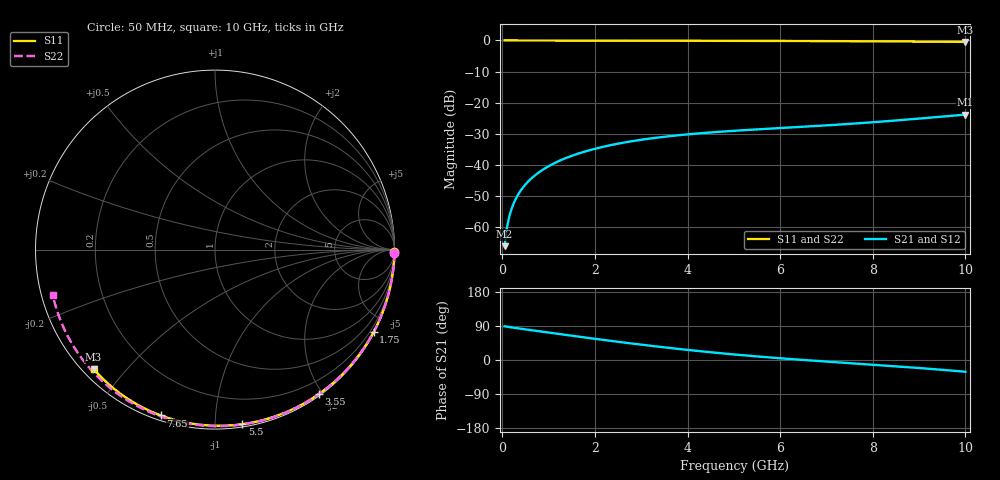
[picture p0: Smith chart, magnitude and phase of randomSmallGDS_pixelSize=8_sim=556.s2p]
! freq	dB(S11)	phase(S11)	dB(S12)	phase(S12)
!  dB(S21)	phase(S21)	dB(S22)	phase(S22)
!S-par simulation data
#  GHz  S  DB  R 50
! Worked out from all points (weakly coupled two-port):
!   200 points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, 50 MHz to 10 GHz, reference 50 ohm
!   highest |S21| = -23.85 dB at 10 GHz (marker M1); lowest = -66.2 dB at 50 MHz (marker M2)
!   lowest |S11| = -0.5 dB at 10 GHz (marker M3), VSWR 37.66, Z = 1.55 - j20.4 ohm
!   |S11| at or under -10 dB: nowhere
!   |S22| runs from -0.6 to 0.0 dB; largest |S21 - S12| = 0
!   S11 on the Smith chart (normalised r, x): 50 MHz: open; 1.75 GHz: 0.04, -4.09; 3.55 GHz: 0.02, -1.95; 5.5 GHz: 0.02, -1.17; 7.65 GHz: 0.02, -0.72; 10 GHz: 0.03, -0.41
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0.05  -0.00 -0.8  -66.17 89.0  -66.17 89.0  -0.00 -1.0
0.1  -0.00 -1.6  -60.16 87.9  -60.16 87.9  -0.00 -1.9
0.15  -0.00 -2.4  -56.66 87.0  -56.66 87.0  -0.00 -2.9
0.2  -0.00 -3.2  -54.18 86.0  -54.18 86.0  -0.00 -3.8
0.25  -0.00 -4.0  -52.26 85.1  -52.26 85.1  -0.00 -4.8
0.35  -0.00 -5.6  -49.37 83.3  -49.37 83.3  -0.00 -6.7
0.5  -0.01 -8.0  -46.32 80.8  -46.32 80.8  -0.01 -9.5
0.7  -0.01 -11.1  -43.46 77.4  -43.46 77.4  -0.01 -13.3
1  -0.02 -15.8  -40.44 72.4  -40.44 72.4  -0.02 -18.9
1.35  -0.03 -21.3  -37.96 66.5  -37.96 66.5  -0.03 -25.5
1.75  -0.04 -27.5  -35.88 59.9  -35.88 59.9  -0.04 -32.8
2.6  -0.05 -40.4  -32.92 46.5  -32.92 46.5  -0.06 -48.2
3.4  -0.07 -52.1  -31.15 34.7  -31.15 34.7  -0.09 -62.1
3.55  -0.08 -54.3  -30.89 32.7  -30.89 32.7  -0.09 -64.7
4.3  -0.10 -64.9  -29.82 22.9  -29.82 22.9  -0.11 -77.3
5.05  -0.12 -75.2  -29.02 14.1  -29.02 14.1  -0.14 -89.4
5.5  -0.14 -81.1  -28.61 9.4  -28.61 9.4  -0.16 -96.5
6.7  -0.19 -96.5  -27.59 -1.6  -27.59 -1.6  -0.23 -114.8
7.65  -0.25 -108.1  -26.69 -9.4  -26.69 -9.4  -0.30 -129.0
8.35  -0.30 -116.4  -25.92 -15.2  -25.92 -15.2  -0.36 -139.4
9.2  -0.38 -126.3  -24.88 -23.0  -24.88 -23.0  -0.45 -152.1
10  -0.46 -135.5  -23.85 -31.1  -23.85 -31.1  -0.55 -164.5
